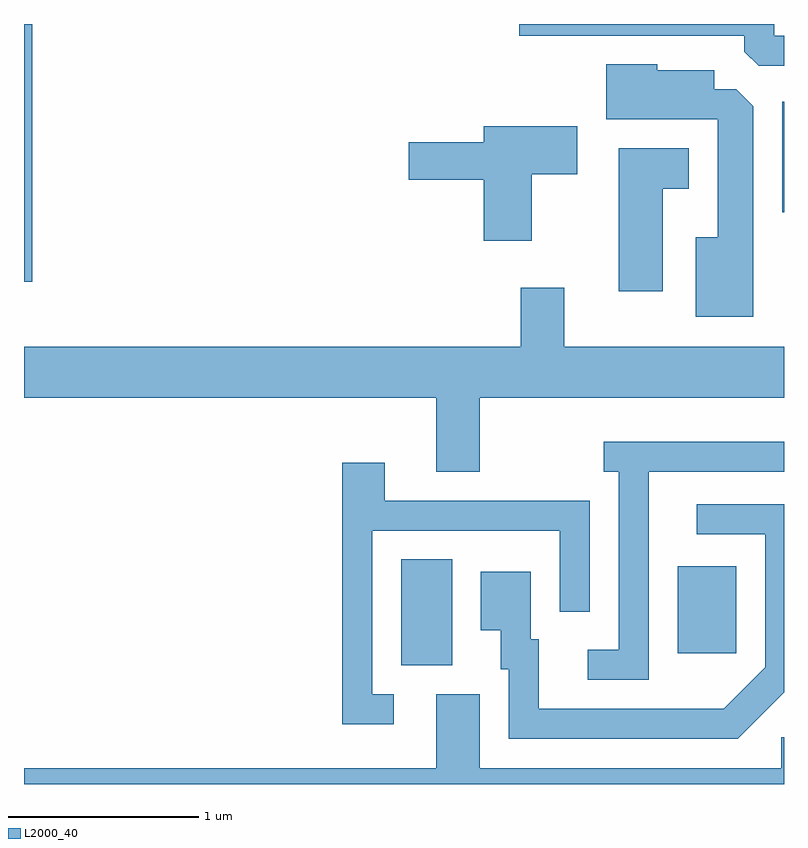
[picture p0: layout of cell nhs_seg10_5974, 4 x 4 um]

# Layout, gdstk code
import gdstk
lib = gdstk.Library(unit=1e-6, precision=1e-09)
def R(c, l, rs):  # rectangles x0, y0, x1, y1
    for r in rs: c.add(gdstk.rectangle(r[:2], r[2:], *l))
def P(c, l, *ps):  # polygons
    for p in ps: c.add(gdstk.Polygon(p, *l))
L2000_40 = (2000, 40)

nhs_seg10_5974 = lib.new_cell('nhs_seg10_5974')
R(nhs_seg10_5974, L2000_40, [(363.596,2139.146,363.864,2139.704), (365.051,2139.211,365.359,2139.669), (361.611,2141.166,361.654,2142.522), (365.601,2141.531,365.611,2142.114)])
P(nhs_seg10_5974, L2000_40, [(365.611,2142.459),(365.559,2142.459),(365.559,2142.522),(364.218,2142.522),(364.218,2142.461),(365.401,2142.461),(365.401,2142.377),(365.477,2142.301),(365.611,2142.301)],
  [(365.449,2142.089),(365.359,2142.179),(365.244,2142.179),(365.244,2142.279),(364.944,2142.279),(364.944,2142.309),(364.676,2142.309),(364.676,2142.021),(365.261,2142.021),(365.261,2141.399),(365.146,2141.399),(365.146,2140.981),(365.449,2140.981)],
  [(364.284,2141.731),(364.524,2141.731),(364.524,2141.984),(364.031,2141.984),(364.031,2141.899),(363.636,2141.899),(363.636,2141.701),(364.031,2141.701),(364.031,2141.381),(364.284,2141.381)],
  [(364.974,2141.656),(365.109,2141.656),(365.109,2141.869),(364.741,2141.869),(364.741,2141.116),(364.974,2141.116)],
  [(364.009,2140.556),(365.611,2140.556),(365.611,2140.824),(364.454,2140.824),(364.454,2141.134),(364.226,2141.134),(364.226,2140.824),(361.611,2140.824),(361.611,2140.556),(363.781,2140.556),(363.781,2140.166),(364.009,2140.166)],
  [(364.899,2140.166),(365.611,2140.166),(365.611,2140.324),(364.663,2140.324),(364.663,2140.166),(364.741,2140.166),(364.741,2139.229),(364.578,2139.229),(364.578,2139.071),(364.899,2139.071)],
  [(363.558,2138.994),(363.444,2138.994),(363.444,2139.856),(364.431,2139.856),(364.431,2139.428),(364.589,2139.428),(364.589,2140.014),(363.509,2140.014),(363.509,2140.214),(363.286,2140.214),(363.286,2138.836),(363.558,2138.836)],
  [(365.611,2139.006),(365.611,2139.994),(365.153,2139.994),(365.153,2139.836),(365.511,2139.836),(365.511,2139.137),(365.294,2138.919),(364.319,2138.919),(364.319,2139.284),(364.279,2139.284),(364.279,2139.639),(364.016,2139.639),(364.016,2139.331),(364.121,2139.331),(364.121,2139.126),(364.161,2139.126),(364.161,2138.761),(365.367,2138.761)],
  [(365.611,2138.769),(365.596,2138.769),(365.596,2138.604),(364.009,2138.604),(364.009,2138.994),(363.781,2138.994),(363.781,2138.604),(361.611,2138.604),(361.611,2138.522),(365.611,2138.522)])

lib.write_gds('nhs_seg10_5974.gds')
